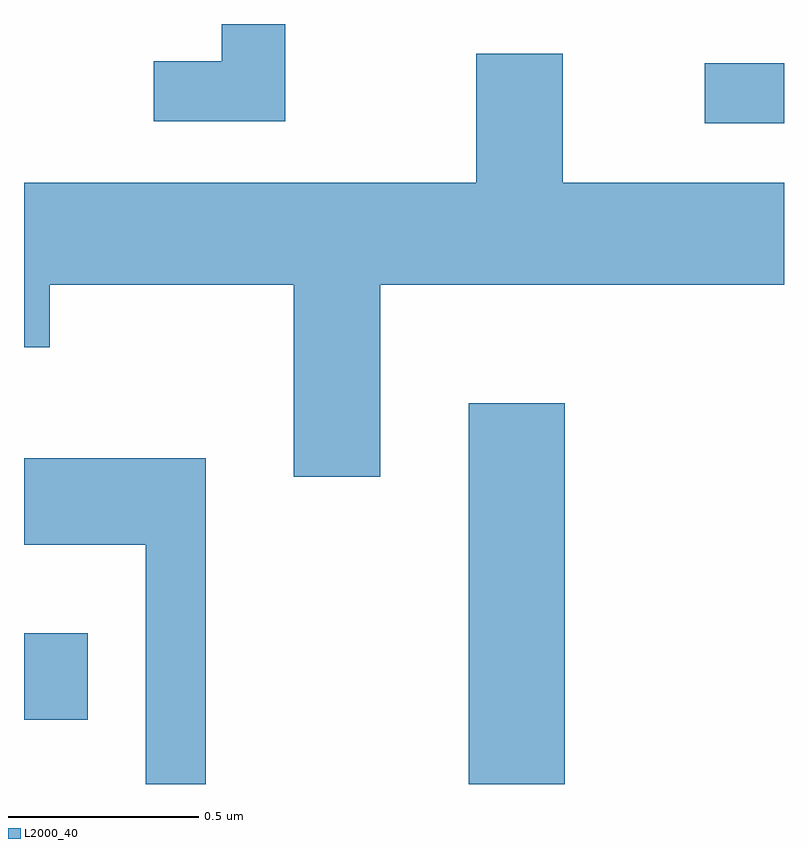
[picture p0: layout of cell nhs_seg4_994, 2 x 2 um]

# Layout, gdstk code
import gdstk
lib = gdstk.Library(unit=1e-6, precision=1e-09)
def R(c, l, rs):  # rectangles x0, y0, x1, y1
    for r in rs: c.add(gdstk.rectangle(r[:2], r[2:], *l))
def P(c, l, *ps):  # polygons
    for p in ps: c.add(gdstk.Polygon(p, *l))
L2000_40 = (2000, 40)

nhs_seg4_994 = lib.new_cell('nhs_seg4_994')
R(nhs_seg4_994, L2000_40, [(193.781,1288.982,194.034,1289.984), (192.611,1289.151,192.779,1289.379), (194.403,1290.721,194.611,1290.879)])
P(nhs_seg4_994, L2000_40, [(193.299,1290.982),(193.131,1290.982),(193.131,1290.884),(192.953,1290.884),(192.953,1290.726),(193.299,1290.726)],
  [(193.549,1290.296),(194.611,1290.296),(194.611,1290.564),(194.029,1290.564),(194.029,1290.904),(193.801,1290.904),(193.801,1290.564),(192.611,1290.564),(192.611,1290.131),(192.679,1290.131),(192.679,1290.296),(193.321,1290.296),(193.321,1289.791),(193.549,1289.791)],
  [(193.089,1289.839),(192.611,1289.839),(192.611,1289.611),(192.931,1289.611),(192.931,1288.982),(193.089,1288.982)])

lib.write_gds('nhs_seg4_994.gds')
